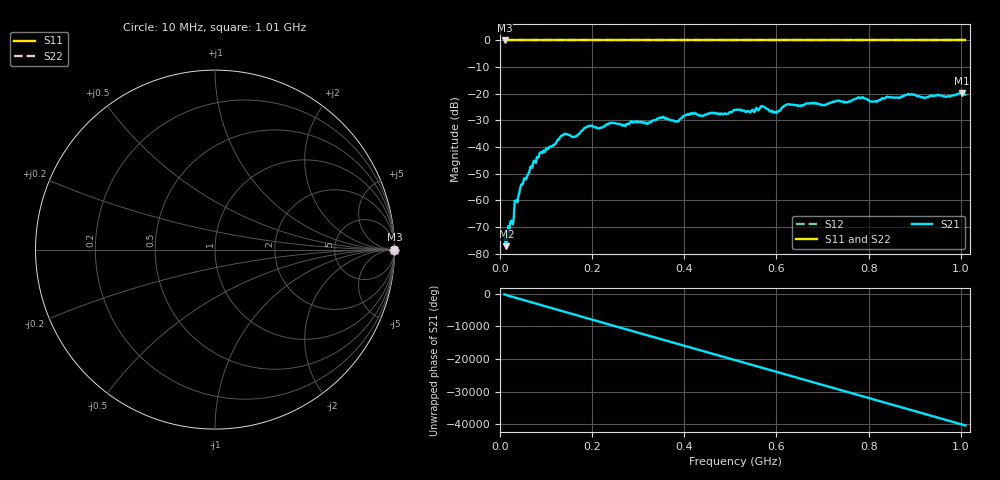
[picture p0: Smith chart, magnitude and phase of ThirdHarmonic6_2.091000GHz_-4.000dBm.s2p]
! 8/17/2025 1:01:27 AM
! C:\ANRITSUVNA\TEMP\TEMP.S2P
! CHANNEL.1
! TR.MEASUREMENT
! RAW.DATA
! RF.CORRECTION.OFF
! AVERAGING.OFF
! IF.BANDWIDTH: 5KHZ
! SWEEPTYPE:  FREQ.SWEEP(Linear)
! Reference Plane Port Info
! PORT:  PORT1  PORT2
! DISTANCE:  0  m  0  m
! TIME:  0  s  0  s
! PHASE.OFFSET:  0  deg.  0  deg.
! LOSS:  0  dB  0  dB
! REF.LOSS:  0  dB  0  dB
! REF.FREQ:  0  Hz  0  Hz
! Power Info
! POWER:  -20  dBm  -20  dBm
! EFF.POWER:  -20  dBm  -20  dBm
! SOURCE.ATTEN:  0  dB  0  dB
! TEST.ATTEN:  0  dB  0  dB
# GHZ S RI R 50.0
! FREQ.GHZ  S11RE  S11IM  S21RE  S21IM  S12RE  S12IM  S22RE  S22IM
!; PortSelection: Port_12
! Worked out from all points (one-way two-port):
!   501 points, 10 MHz to 1.01 GHz, reference 50 ohm
!   highest |S21| = -19.67 dB at 1.002 GHz (marker M1); lowest = -77.1 dB at 14 MHz (marker M2)
!   lowest |S11| = 0.0 dB at 10 MHz (marker M3)
!   |S11| at or under -10 dB: nowhere
!   |S22| runs from 0.0 to 0.0 dB; largest |S21 - S12| = 1.1
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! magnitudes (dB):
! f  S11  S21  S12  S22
! 10 MHz  0.0  -73.9  0.0  0.0
! 14 MHz  0.0  -77.1  0.0  0.0
! 48 MHz  0.0  -54.1  0.0  0.0
! 84 MHz  0.0  -43.7  0.0  0.0
! 136 MHz  0.0  -35.6  0.0  0.0
! 162 MHz  0.0  -36.1  0.0  0.0
! 178 MHz  0.0  -33.8  0.0  0.0
! 196 MHz  0.0  -32.0  0.0  0.0
! 318 MHz  0.0  -31.0  0.0  0.0
! 344 MHz  0.0  -29.3  0.0  0.0
! 384 MHz  0.0  -30.3  0.0  0.0
! 410 MHz  0.0  -27.9  0.0  0.0
! 510 MHz  0.0  -26.1  0.0  0.0
! 548 MHz  0.0  -26.0  0.0  0.0
! 570 MHz  0.0  -24.7  0.0  0.0
! 598 MHz  0.0  -26.9  0.0  0.0
! 622 MHz  0.0  -24.1  0.0  0.0
! 678 MHz  0.0  -23.6  0.0  0.0
! 814 MHz  0.0  -22.8  0.0  0.0
! 844 MHz  0.0  -21.3  0.0  0.0
! 1.002 GHz  0.0  -19.7  0.0  0.0
! 1.01 GHz  0.0  -20.3  0.0  0.0
